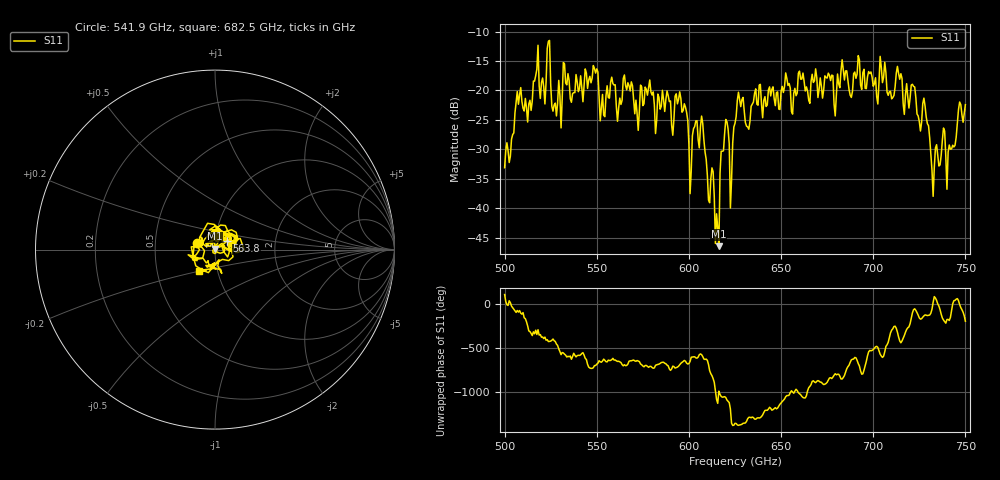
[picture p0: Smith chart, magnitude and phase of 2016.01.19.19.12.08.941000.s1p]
!Created with skrf (http://scikit-rf.org).
# GHz S RI R 50.0
!freq ReS11 ImS11
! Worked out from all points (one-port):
!   401 points, 500 GHz to 750 GHz, reference 50 ohm
!   lowest |S11| = -46.5 dB at 616.2 GHz (marker M1), VSWR 1.01, Z = 50 + j0.474 ohm
!   |S11| at or under -10 dB: start of sweep to end of sweep
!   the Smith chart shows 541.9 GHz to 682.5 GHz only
!   S11 on the Smith chart (normalised r, x): 541.9 GHz: 0.82, +0.06; 563.8 GHz: 1.14, +0.11; 682.5 GHz: 0.82, -0.20
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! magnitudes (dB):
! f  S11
! 500 GHz  -33.1
! 516.9 GHz  -17.5
! 520.6 GHz  -17.9
! 523.8 GHz  -11.7
! 526.9 GHz  -22.5
! 531.2 GHz  -21.4
! 541.9 GHz  -19.5
! 549.4 GHz  -17.1
! 553.1 GHz  -20.7
! 558.8 GHz  -18.8
! 562.5 GHz  -21.3
! 563.8 GHz  -21.7
! 593.8 GHz  -22.3
! 601.2 GHz  -33.7
! 607.5 GHz  -25.6
! 615 GHz  -41.0
! 616.2 GHz  -46.5
! 619.4 GHz  -27.3
! 623.1 GHz  -35.2
! 625 GHz  -25.6
! 656.2 GHz  -24.0
! 682.5 GHz  -16.7
! 687.5 GHz  -20.8
! 705 GHz  -18.7
! 718.8 GHz  -21.2
! 728.1 GHz  -22.7
! 732.5 GHz  -38.0
! 750 GHz  -22.4
